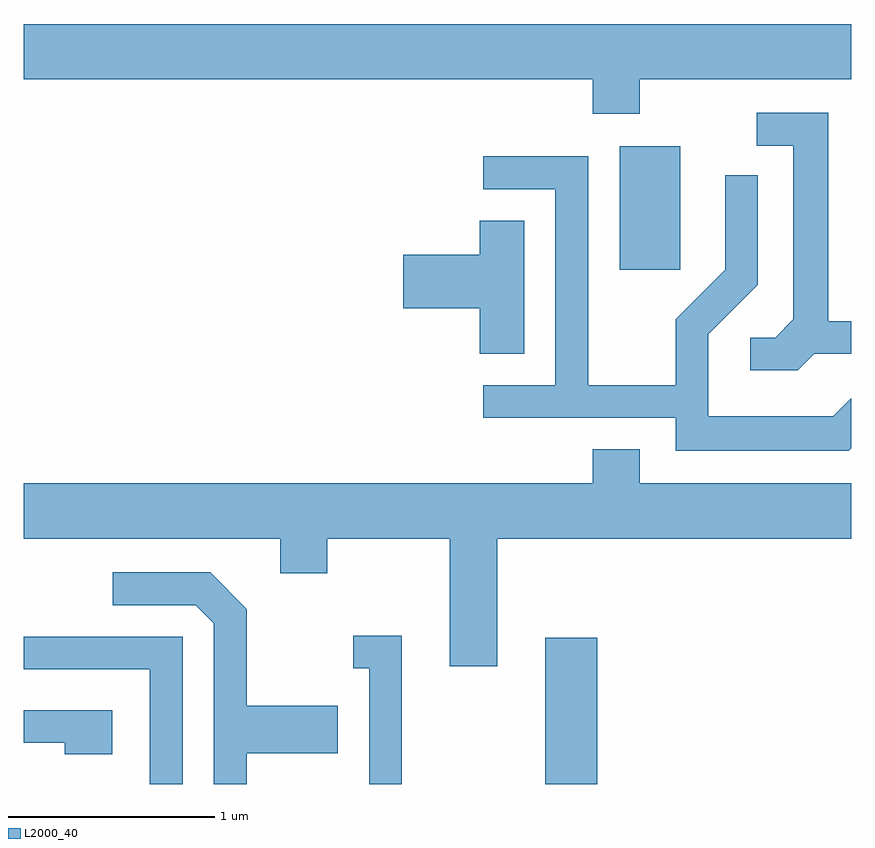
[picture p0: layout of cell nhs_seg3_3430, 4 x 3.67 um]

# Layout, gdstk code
import gdstk
lib = gdstk.Library(unit=1e-6, precision=1e-09)
def R(c, l, rs):  # rectangles x0, y0, x1, y1
    for r in rs: c.add(gdstk.rectangle(r[:2], r[2:], *l))
def P(c, l, *ps):  # polygons
    for p in ps: c.add(gdstk.Polygon(p, *l))
L2000_40 = (2000, 40)

nhs_seg3_3430 = lib.new_cell('nhs_seg3_3430')
R(nhs_seg3_3430, L2000_40, [(288.131,1175.892,288.384,1176.599), (288.491,1178.376,288.784,1178.974)])
P(nhs_seg3_3430, L2000_40, [(288.589,1179.296),(289.611,1179.296),(289.611,1179.564),(285.611,1179.564),(285.611,1179.296),(288.361,1179.296),(288.361,1179.131),(288.589,1179.131)],
  [(289.432,1177.971),(289.611,1177.971),(289.611,1178.129),(289.499,1178.129),(289.499,1179.134),(289.153,1179.134),(289.153,1178.976),(289.331,1178.976),(289.331,1178.137),(289.244,1178.049),(289.123,1178.049),(289.123,1177.891),(289.352,1177.891)],
  [(289.611,1177.515),(289.611,1177.756),(289.524,1177.669),(288.919,1177.669),(288.919,1178.064),(289.159,1178.304),(289.159,1178.833),(289.001,1178.833),(289.001,1178.377),(288.761,1178.137),(288.761,1177.819),(288.339,1177.819),(288.339,1178.924),(287.833,1178.924),(287.833,1178.766),(288.181,1178.766),(288.181,1177.819),(287.833,1177.819),(287.833,1177.661),(288.761,1177.661),(288.761,1177.501),(289.597,1177.501)],
  [(288.029,1178.614),(287.816,1178.614),(287.816,1178.449),(287.446,1178.449),(287.446,1178.191),(287.816,1178.191),(287.816,1177.971),(288.029,1177.971)],
  [(287.899,1177.076),(289.611,1177.076),(289.611,1177.344),(288.589,1177.344),(288.589,1177.509),(288.361,1177.509),(288.361,1177.344),(285.611,1177.344),(285.611,1177.076),(286.851,1177.076),(286.851,1176.911),(287.079,1176.911),(287.079,1177.076),(287.671,1177.076),(287.671,1176.461),(287.899,1176.461)],
  [(286.689,1176.041),(287.129,1176.041),(287.129,1176.269),(286.689,1176.269),(286.689,1176.737),(286.512,1176.914),(286.043,1176.914),(286.043,1176.756),(286.444,1176.756),(286.531,1176.669),(286.531,1175.892),(286.689,1175.892)],
  [(287.439,1176.609),(287.203,1176.609),(287.203,1176.451),(287.281,1176.451),(287.281,1175.892),(287.439,1175.892)],
  [(286.379,1176.604),(285.611,1176.604),(285.611,1176.446),(286.221,1176.446),(286.221,1175.892),(286.379,1175.892)],
  [(286.039,1176.249),(285.611,1176.249),(285.611,1176.091),(285.811,1176.091),(285.811,1176.036),(286.039,1176.036)])

lib.write_gds('nhs_seg3_3430.gds')
